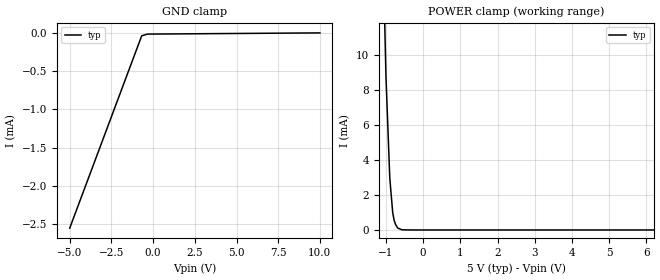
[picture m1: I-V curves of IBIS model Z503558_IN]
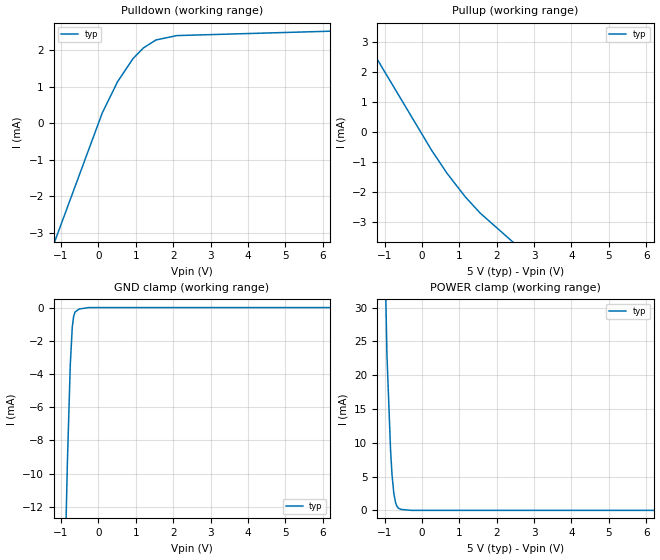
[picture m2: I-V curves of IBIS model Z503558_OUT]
| YOU ARE ONLY AUTHORIZED TO USE THIS SOFTWARE
| ACCORDING TO LICENSOR'S LICENSE RESTRICTIONS.
[IBIS Ver] 3.1
[File Name] mc14072bcl.ibs
[File Rev] 2.0
[Source] Measured and created by ICX Technology
[Date] Friday 7/14/00 9:07:53 AM
[Copyright]
| (C) COPYRIGHT 1993-2000
| MENTOR GRAPHICS CORPORATION
| ICX STANDARD LIBRARY, ICX PROJECT MODELING,
| ICX CUSTOM MODELING, ICX VENDOR MODEL
| ALL RIGHTS RESERVED.
| THE FOLLOWING ARE TRADEMARKS OR SERVICE MARKS OF
| MENTOR GRAPHICS CORPORATION:ICX (R), ICX STANDARD
| LIBRARY(R), ICX PROJECT MODELING(R), ICX CUSTOM
| MODELING(R), qualityIBIS(TM), MODELVIEWER(TM),
| AND MODELEDITOR(TM)
| ALL COPIES OF SOFTWARE, INCLUDING BUT NOT LIMITED TO
| ANY MODIFICATIONS, ENHANCEMENTS OR DERIVATIVE WORKS,
| MUST CONTAIN ALL MENTOR GRAPHICS CORPORATION'S
| NOTICES AND LEGENDS, INCLUDING THOSE EMBEDDED IN
| SOFTWARE AND THOSE AFFIXED TO SOFTWARE MEDIUM
| AND CONTAINER, AS RECEIVED FROM MENTOR GRAPHICS
| CORPORATION.
|  ZAP Model Builder 2.7
[Component] MC14072BCL
[Manufacturer] OnSemiconductor
[Package]
| variable   typ   min   max
R_pkg  .21ohms NA NA
L_pkg  4.543nH NA NA
C_pkg  1.8pF NA NA
[Pin] signal_name  model_name  R_pin  L_pin C_pin
1 OUTA Z503558_OUT .22 6.757n 2.434p
2 IN1A Z503558_IN .212 4.757n 1.941p
3 IN2A Z503558_IN .204 3.257n 1.448p
4 IN3A Z503558_IN .196 2.257n .955p
5 IN4A Z503558_IN .204 3.257n 1.448p
6 NC NC .212 4.757n 1.941p
7 VSS POWER .22 6.757n 2.434p
8 NC NC .22 6.757n 2.434p
9 IN1B Z503558_IN .212 4.757n 1.941p
10 IN2B Z503558_IN .204 3.257n 1.448p
11 IN3B Z503558_IN .196 2.257n .955p
12 IN4B Z503558_IN .204 3.257n 1.448p
13 OUTB Z503558_OUT .212 4.757n 1.941p
14 VDD POWER .22 6.757n 2.434p
| Models and submodels in the file (2): Z503558_IN (Input), Z503558_OUT (Output)
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| (C) COPYRIGHT 1993-2000
| MENTOR GRAPHICS CORPORATION
| ICX STANDARD LIBRARY, ICX PROJECT MODELING,
| ICX CUSTOM MODELING, ICX VENDOR MODEL
| ALL RIGHTS RESERVED.
| THE FOLLOWING ARE TRADEMARKS OR SERVICE MARKS OF
| MENTOR GRAPHICS CORPORATION:ICX (R), ICX STANDARD
| LIBRARY(R), ICX PROJECT MODELING(R), ICX CUSTOM
| MODELING(R), qualityIBIS(TM), MODELVIEWER(TM),
| AND MODELEDITOR(TM)
| ALL COPIES OF SOFTWARE, INCLUDING BUT NOT LIMITED TO
| ANY MODIFICATIONS, ENHANCEMENTS OR DERIVATIVE WORKS,
| MUST CONTAIN ALL MENTOR GRAPHICS CORPORATION'S
| NOTICES AND LEGENDS, INCLUDING THOSE EMBEDDED IN
| SOFTWARE AND THOSE AFFIXED TO SOFTWARE MEDIUM
| AND CONTAINER, AS RECEIVED FROM MENTOR GRAPHICS
| CORPORATION.
| Model Application Version 1.89 2/18/99.
[Model] Z503558_IN
Model_type Input
Vinl = 1.500V
Vinh = 3.500V
C_comp 4.000pF NA NA
| variable typ   min   max
[Voltage Range] 5.000V NA NA
[GND Clamp Reference] 0.000V NA NA
[POWER Clamp Reference] 5.000V NA NA
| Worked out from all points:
|   POWER clamp passes 1 mA (typ) near -0.82 V on its own axis
[GND Clamp]
-5V       -2.557mA   NA         NA
-683.9mV  -35.61uA   NA         NA
-341.9mV  -12.98uA   NA         NA
10V       2.764uA    NA         NA
[POWER Clamp]
-5V       370.2mA    NA         NA
-1V       8.754mA    NA         NA
-898mV    2.981mA    NA         NA
-820mV    1.014mA    NA         NA
-785mV    584.5uA    NA         NA
-743mV    317.2uA    NA         NA
-688mV    115.5uA    NA         NA
-571mV    9.822uA    NA         NA
-285.5mV  0A         NA         NA
10V       0A         NA         NA
| (C) COPYRIGHT 1993-2000
| MENTOR GRAPHICS CORPORATION
| ICX STANDARD LIBRARY, ICX PROJECT MODELING,
| ICX CUSTOM MODELING, ICX VENDOR MODEL
| ALL RIGHTS RESERVED.
| THE FOLLOWING ARE TRADEMARKS OR SERVICE MARKS OF
| MENTOR GRAPHICS CORPORATION:ICX (R), ICX STANDARD
| LIBRARY(R), ICX PROJECT MODELING(R), ICX CUSTOM
| MODELING(R), qualityIBIS(TM), MODELVIEWER(TM),
| AND MODELEDITOR(TM)
| ALL COPIES OF SOFTWARE, INCLUDING BUT NOT LIMITED TO
| ANY MODIFICATIONS, ENHANCEMENTS OR DERIVATIVE WORKS,
| MUST CONTAIN ALL MENTOR GRAPHICS CORPORATION'S
| NOTICES AND LEGENDS, INCLUDING THOSE EMBEDDED IN
| SOFTWARE AND THOSE AFFIXED TO SOFTWARE MEDIUM
| AND CONTAINER, AS RECEIVED FROM MENTOR GRAPHICS
| CORPORATION.
| Model Application Version 1.89 2/18/99.
[Model] Z503558_OUT
Model_type Output
Vref=0.000V
Rref=500.0Mohms
Cref=50.00pF
Vmeas=2.500V
C_comp 8.000pF NA NA
| variable typ   min   max
[Voltage Range] 5.000V NA NA
[POWER Clamp Reference] 5.000V NA NA
[Pullup Reference] 5.000V NA NA
[Pulldown Reference] 0.000V NA NA
[GND Clamp Reference] 0.000V NA NA
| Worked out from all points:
|   slope of the pulldown table from 0 to 0.75 V, typ, clamps not added: 499 ohm
|   slope of the pullup table from 0 to 0.75 V, typ, clamps not added: 524 ohm
|   GND clamp passes 1 mA (typ) near -0.69 V on its own axis
|   POWER clamp passes 1 mA (typ) near -0.70 V on its own axis
[GND Clamp]
-5V       -424.4mA   NA         NA
-830mV    -9.395mA   NA         NA
-752mV    -3.45mA    NA         NA
-698.2mV  -1.159mA   NA         NA
-662.2mV  -535.7uA   NA         NA
-625mV    -268.7uA   NA         NA
-514.6mV  -88.37uA   NA         NA
-257.3mV  0A         NA         NA
10V       0A         NA         NA
[Pulldown]
-5V       -13.85mA   NA         NA
104.2mV   281.8uA    NA         NA
514.9mV   1.138mA    NA         NA
926.6mV   1.768mA    NA         NA
1.206V    2.06mA     NA         NA
1.539V    2.277mA    NA         NA
2.098V    2.397mA    NA         NA
10V       2.628mA    NA         NA
[Pullup]
-5V       10.33mA    NA         NA
259mV     -605.7uA   NA         NA
669mV     -1.368mA   NA         NA
1.162V    -2.159mA   NA         NA
1.557V    -2.694mA   NA         NA
10V       -11.98mA   NA         NA
[POWER Clamp]
-5V       1.188A     NA         NA
-937mV    23.09mA    NA         NA
-840mV    8.981mA    NA         NA
-801mV    5.294mA    NA         NA
-751mV    2.449mA    NA         NA
-703mV    1.092mA    NA         NA
-669mV    607.1uA    NA         NA
-635mV    338.8uA    NA         NA
-561mV    142.7uA    NA         NA
-280.5mV  0A         NA         NA
10V       0A         NA         NA
[Ramp]
| variable typ min max
dV/dt_r 2.488/14.11n NA NA
dV/dt_f 2.488/12.95n NA NA
R_load = 2.500kOhms
